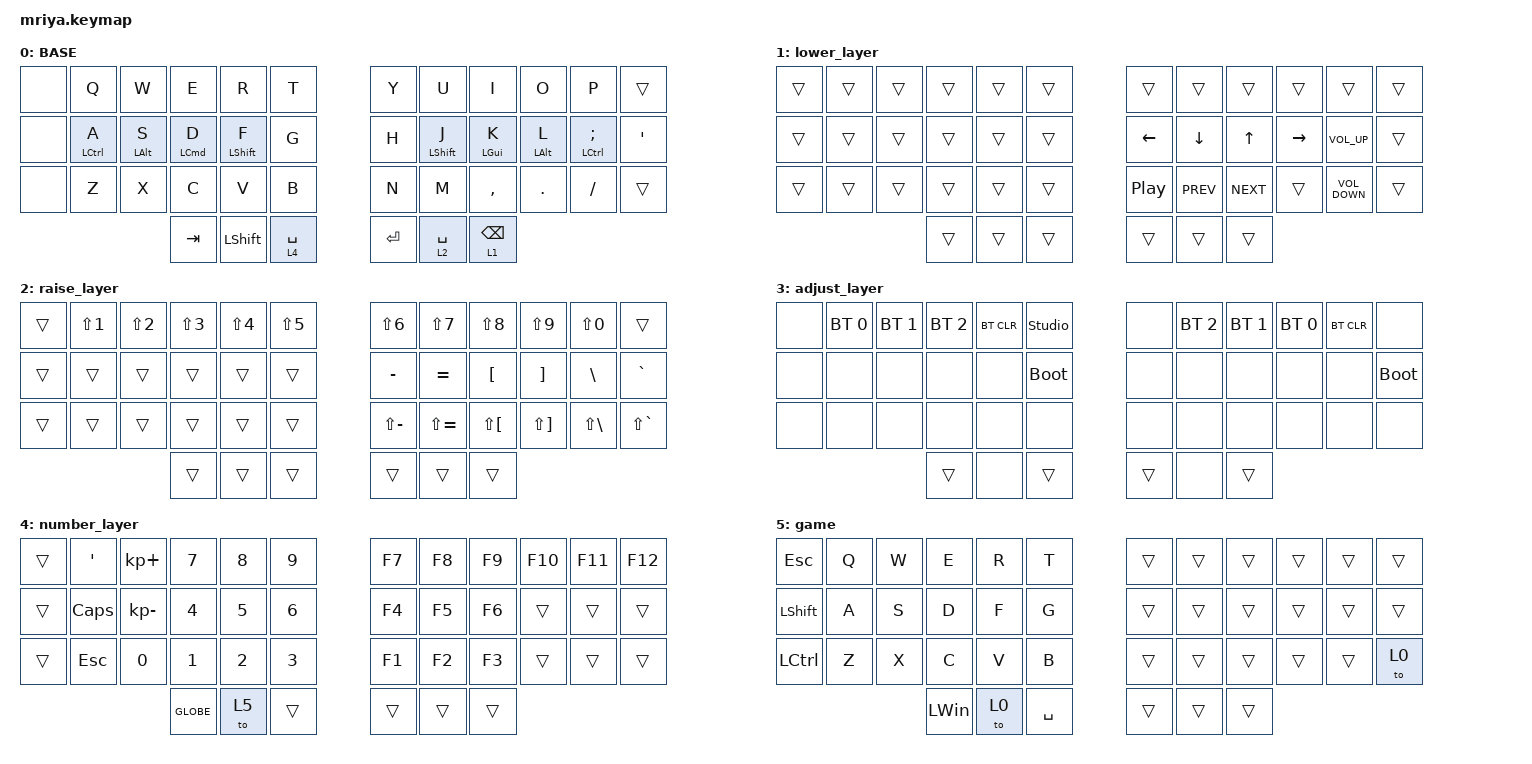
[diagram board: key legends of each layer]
/*
 * Copyright (c) 2020 The ZMK Contributors
 *
 * SPDX-License-Identifier: MIT
 */

#include <behaviors.dtsi>
#include <dt-bindings/zmk/bt.h>
#include <dt-bindings/zmk/keys.h>

#define BASE   0
#define LOWER  1
#define RAISE  2
#define ADJUST 3
#define NUM    4
#define GAME   5

&lt {
};

&mt { flavor = "tap-preferred"; };

/ {
    keymap {
        compatible = "zmk,keymap";

        base_layer {
            // ┌───────┬───────┬───────┬───────┬───────┬───────┐                   ┌───────┬───────┬───────┬───────┬───────┬───────┐
            // │       │   Q   │   W   │   E   │   R   │   T   │                   │   Y   │   U   │   I   │   O   │   P   │       │
            // ├───────┼───────┼───────┼───────┼───────┼───────┤                   ├───────┼───────┼───────┼───────┼───────┼───────┤                      
            // │       │   A   │   S   │   D   │   F   │   G   │                   │   H   │   J   │   K   │   L   │   ;   │   '   │
            // ├───────┼───────┼───────┼───────┼───────┼───────┤                   ├───────┼───────┼───────┼───────┼───────┼───────┤
            // │       │   Z   │   X   │   C   │   V   │   B   │                   │   N   │   M   │   ,   │   .   │   /   │       │
            // └───────┴───────┴───────┴───────┼───────┼───────┼───────┐   ┌───────┼───────┼───────┼───────┴───────┴───────┴───────┘
            //                                 │  TAB  │ LSHFT │  NUM  │   │ ENTER │ RAISE │ LOWER │
            //                                 └───────┴───────┴───────┘   └───────┴───────┴───────┘   

            bindings = <
&none  &kp Q        &kp W       &kp E       &kp R        &kp T                                   &kp Y        &kp U            &kp I       &kp O       &kp P           &trans
&none  &mt LCTRL A  &mt LALT S  &mt LCMD D  &mt LSHFT F  &kp G                                   &kp H        &mt LSHFT J      &mt LGUI K  &mt LALT L  &mt LCTRL SEMI  &kp SQT
&none  &kp Z        &kp X       &kp C       &kp V        &kp B                                   &kp N        &kp M            &kp COMMA   &kp DOT     &kp FSLH        &trans
                                            &kp TAB      &kp LEFT_SHIFT  &lt 4 SPACE  &kp ENTER  &lt 2 SPACE  &lt 1 BACKSPACE
            >;

            label = "BASE";
        };

        lower_layer {
            // ┌───────┬───────┬───────┬───────┬───────┬───────┐                   ┌───────┬───────┬───────┬───────┬───────┬───────┐
            // │       │       │       │       │       │       │                   │       │       │       │       │       │       │
            // ├───────┼───────┼───────┼───────┼───────┼───────┤                   ├───────┼───────┼───────┼───────┼───────┼───────┤                      
            // │       │       │       │       │       │       │                   │  LEFT │  DOWN │  UP   │ RIGHT │ VOL_U │       │   
            // ├───────┼───────┼───────┼───────┼───────┼───────┤                   ├───────┼───────┼───────┼───────┼───────┼───────┤
            // │       │       │       │       │       │       │                   │ C_PP  │C_PREV │C_NEXT │       │ VOL_D │       │
            // └───────┴───────┴───────┴───────┼───────┼───────┼───────┐   ┌───────┼───────┼───────┼───────┴───────┴───────┴───────┘
            //                                 │       │       │       │   │       │       │       │
            //                                 └───────┴───────┴───────┘   └───────┴───────┴───────┘   

            bindings = <
&trans  &trans  &trans  &trans  &trans  &trans                  &trans    &trans      &trans      &trans     &trans             &trans
&trans  &trans  &trans  &trans  &trans  &trans                  &kp LEFT  &kp DOWN    &kp UP      &kp RIGHT  &kp C_VOLUME_UP    &trans
&trans  &trans  &trans  &trans  &trans  &trans                  &kp C_PP  &kp C_PREV  &kp C_NEXT  &trans     &kp C_VOLUME_DOWN  &trans
                                &trans  &trans  &trans  &trans  &trans    &trans
            >;
        };

        raise_layer {
            // ┌───────┬───────┬───────┬───────┬───────┬───────┐                   ┌───────┬───────┬───────┬───────┬───────┬───────┐
            // │       │ LS_N1 │ LS_N2 │ LS_N3 │ LS_N4 │ LS_N5 │                   │ LS_N6 │ LS_N7 │ LS_N8 │ LS_N9 │ LS_N0 │       │
            // ├───────┼───────┼───────┼───────┼───────┼───────┤                   ├───────┼───────┼───────┼───────┼───────┼───────┤                      
            // │       │       │       │       │       │       │                   │   -   │   =   │   [   │   ]   │   \   │   `   │
            // ├───────┼───────┼───────┼───────┼───────┼───────┤                   ├───────┼───────┼───────┼───────┼───────┼───────┤
            // │       │       │       │       │       │       │                   │ LS_-  │ LS_=  │ LS_[  │ LS_]  │ LS_\  │ LS_`  │
            // └───────┴───────┴───────┴───────┼───────┼───────┼───────┐   ┌───────┼───────┼───────┼───────┴───────┴───────┴───────┘
            //                                 │       │       │       │   │       │       │       │
            //                                 └───────┴───────┴───────┘   └───────┴───────┴───────┘

            bindings = <
&trans  &kp LS(N1)  &kp LS(N2)  &kp LS(N3)  &kp LS(N4)  &kp LS(N5)                  &kp LS(N6)     &kp LS(N7)     &kp LS(N8)    &kp LS(N9)    &kp LS(N0)    &trans
&trans  &trans      &trans      &trans      &trans      &trans                      &kp MINUS      &kp EQUAL      &kp LBKT      &kp RBKT      &kp BSLH      &kp GRAVE
&trans  &trans      &trans      &trans      &trans      &trans                      &kp LS(MINUS)  &kp LS(EQUAL)  &kp LS(LBKT)  &kp LS(RBKT)  &kp LS(BSLH)  &kp LS(GRAVE)
                                            &trans      &trans      &trans  &trans  &trans         &trans
            >;
        };

        adjust_layer {
            // ┌───────┬───────┬───────┬───────┬───────┬───────┐                   ┌───────┬───────┬───────┬───────┬───────┬───────┐
            // │       │ BT_0  │ BT_1  │ BT_2  │ BTCLR │UNLOCK │                   │       │ BTCLR │ BT_2  │ BT_1  │ BT_0  │       │
            // ├───────┼───────┼───────┼───────┼───────┼───────┤                   ├───────┼───────┼───────┼───────┼───────┼───────┤                      
            // │       │       │       │       │       │ BOOT  │                   │       │       │       │       │       │ BOOT  │
            // ├───────┼───────┼───────┼───────┼───────┼───────┤                   ├───────┼───────┼───────┼───────┼───────┼───────┤
            // │       │       │       │       │       │       │                   │       │       │       │       │       │       │
            // └───────┴───────┴───────┴───────┼───────┼───────┼───────┐   ┌───────┼───────┼───────┼───────┴───────┴───────┴───────┘
            //                                 │       │       │       │   │       │       │       │
            //                                 └───────┴───────┴───────┘   └───────┴───────┴───────┘

            bindings = <
&none  &bt BT_SEL 0  &bt BT_SEL 1  &bt BT_SEL 2  &bt BT_CLR  &studio_unlock                  &none  &bt BT_SEL 2  &bt BT_SEL 1  &bt BT_SEL 0  &bt BT_CLR  &none
&none  &none         &none         &none         &none       &bootloader                     &none  &none         &none         &none         &none       &bootloader
&none  &none         &none         &none         &none       &none                           &none  &none         &none         &none         &none       &none
                                                 &trans      &none           &trans  &trans  &none  &trans
            >;
        };

        number_layer {
            // ┌───────┬───────┬───────┬───────┬───────┬───────┐                   ┌───────┬───────┬───────┬───────┬───────┬───────┐
            // │       │   '   │   +   │   7   │   8   │   9   │                   │  F7   │  F8   │  F9   │  F10  │  F11  │  F12  │
            // ├───────┼───────┼───────┼───────┼───────┼───────┤                   ├───────┼───────┼───────┼───────┼───────┼───────┤                      
            // │       │ CAPS  │   -   │   4   │   5   │   6   │                   │  F4   │  F5   │  F6   │       │       │       │
            // ├───────┼───────┼───────┼───────┼───────┼───────┤                   ├───────┼───────┼───────┼───────┼───────┼───────┤
            // │       │ ESC   │   0   │   1   │   2   │   3   │                   │  F1   │  F2   │  F3   │       │       │       │
            // └───────┴───────┴───────┴───────┼───────┼───────┼───────┐   ┌───────┼───────┼───────┼───────┴───────┴───────┴───────┘
            //                                 │  ADJ  │ GAME  │       │   │       │       │       │
            //                                 └───────┴───────┴───────┘   └───────┴───────┴───────┘ 

            bindings = <
&trans  &kp SQT   &kp KP_PLUS   &kp N7  &kp N8     &kp N9                  &kp F7  &kp F8  &kp F9  &kp F10  &kp F11  &kp F12
&trans  &kp CAPS  &kp KP_MINUS  &kp N4  &kp N5     &kp N6                  &kp F4  &kp F5  &kp F6  &trans   &trans   &trans
&trans  &kp ESC   &kp N0        &kp N1  &kp N2     &kp N3                  &kp F1  &kp F2  &kp F3  &trans   &trans   &trans
                                        &kp GLOBE  &to 5   &trans  &trans  &trans  &trans
            >;
        };

        game {
            // ┌───────┬───────┬───────┬───────┬───────┬───────┐                   ┌───────┬───────┬───────┬───────┬───────┬───────┐
            // │  ESC  │   Q   │   W   │   E   │   R   │   T   │                   │       │       │       │       │       │       │
            // ├───────┼───────┼───────┼───────┼───────┼───────┤                   ├───────┼───────┼───────┼───────┼───────┼───────┤                      
            // │  SHT  │   A   │   S   │   D   │   F   │   G   │                   │       │       │       │       │       │       │
            // ├───────┼───────┼───────┼───────┼───────┼───────┤                   ├───────┼───────┼───────┼───────┼───────┼───────┤
            // │  CTL  │   Z   │   X   │   C   │   V   │   B   │                   │       │       │       │       │       │       │
            // └───────┴───────┴───────┴───────┼───────┼───────┼───────┐   ┌───────┼───────┼───────┼───────┴───────┴───────┴───────┘
            //                                 │  WIN  │  DEF  │ SPACE │   │       │       │       │
            //                                 └───────┴───────┴───────┘   └───────┴───────┴───────┘ 

            bindings = <
&kp ESCAPE      &kp Q  &kp W  &kp E  &kp R         &kp T                     &trans  &trans  &trans  &trans  &trans  &trans
&kp LEFT_SHIFT  &kp A  &kp S  &kp D  &kp F         &kp G                     &trans  &trans  &trans  &trans  &trans  &trans
&kp LCTRL       &kp Z  &kp X  &kp C  &kp V         &kp B                     &trans  &trans  &trans  &trans  &trans  &to 0
                                     &kp LEFT_WIN  &to 0  &kp SPACE  &trans  &trans  &trans
            >;
        };
    };
};
